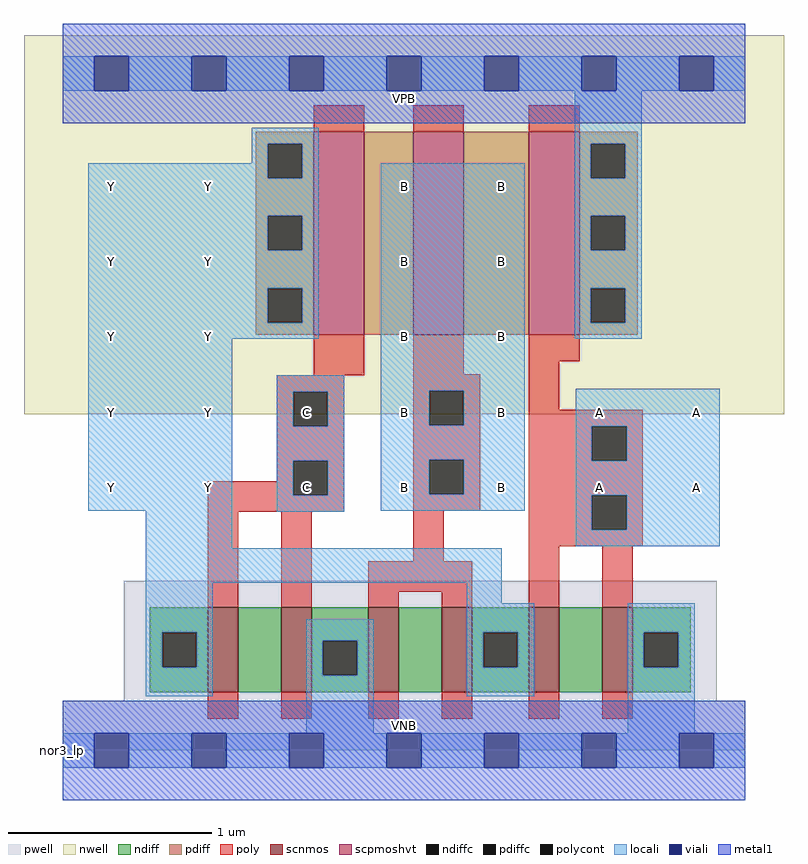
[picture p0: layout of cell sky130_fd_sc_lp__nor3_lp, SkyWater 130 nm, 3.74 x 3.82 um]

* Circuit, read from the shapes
.subckt sky130_fd_sc_lp__nor3_lp A B C VGND VNB VPB VPWR Y
XM1 n1 C Y VNB sky130_fd_pr__nfet_01v8 w=0.42 l=0.15
XM2 VGND C n1 VNB sky130_fd_pr__nfet_01v8 w=0.42 l=0.15
XM3 n2 B VGND VNB sky130_fd_pr__nfet_01v8 w=0.42 l=0.15
XM4 Y B n2 VNB sky130_fd_pr__nfet_01v8 w=0.42 l=0.15
XM5 n3 A Y VNB sky130_fd_pr__nfet_01v8 w=0.42 l=0.15
XM6 VGND A n3 VNB sky130_fd_pr__nfet_01v8 w=0.42 l=0.15
XM7 n4 C Y VPB sky130_fd_pr__pfet_01v8_hvt w=1 l=0.25
XM8 n5 B n4 VPB sky130_fd_pr__pfet_01v8_hvt w=1 l=0.25
XM9 VPWR A n5 VPB sky130_fd_pr__pfet_01v8_hvt w=1 l=0.25
.ends

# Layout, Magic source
magic
tech sky130A
magscale 1 2
<< nwell >>
rect -38 331 710 704
<< pwell >>
rect 60 49 644 167
rect 0 0 672 49
<< scnmos >>
rect 143 57 173 141
rect 215 57 245 141
rect 301 57 331 141
rect 373 57 403 141
rect 459 57 489 141
rect 531 57 561 141
<< scpmoshvt >>
rect 247 409 297 609
rect 345 409 395 609
rect 459 409 509 609
<< ndiff >>
rect 86 116 143 141
rect 86 82 98 116
rect 132 82 143 116
rect 86 57 143 82
rect 173 57 215 141
rect 245 108 301 141
rect 245 74 256 108
rect 290 74 301 108
rect 245 57 301 74
rect 331 57 373 141
rect 403 116 459 141
rect 403 82 414 116
rect 448 82 459 116
rect 403 57 459 82
rect 489 57 531 141
rect 561 116 618 141
rect 561 82 572 116
rect 606 82 618 116
rect 561 57 618 82
<< pdiff >>
rect 190 597 247 609
rect 190 563 202 597
rect 236 563 247 597
rect 190 526 247 563
rect 190 492 202 526
rect 236 492 247 526
rect 190 455 247 492
rect 190 421 202 455
rect 236 421 247 455
rect 190 409 247 421
rect 297 409 345 609
rect 395 409 459 609
rect 509 597 566 609
rect 509 563 520 597
rect 554 563 566 597
rect 509 526 566 563
rect 509 492 520 526
rect 554 492 566 526
rect 509 455 566 492
rect 509 421 520 455
rect 554 421 566 455
rect 509 409 566 421
<< ndiffc >>
rect 98 82 132 116
rect 256 74 290 108
rect 414 82 448 116
rect 572 82 606 116
<< pdiffc >>
rect 202 563 236 597
rect 202 492 236 526
rect 202 421 236 455
rect 520 563 554 597
rect 520 492 554 526
rect 520 421 554 455
<< poly >>
rect 247 609 297 635
rect 345 609 395 635
rect 459 609 509 635
rect 247 369 297 409
rect 345 370 395 409
rect 459 383 509 409
rect 211 353 277 369
rect 211 319 227 353
rect 261 319 277 353
rect 211 285 277 319
rect 211 265 227 285
rect 143 251 227 265
rect 261 251 277 285
rect 143 235 277 251
rect 345 354 411 370
rect 345 320 361 354
rect 395 320 411 354
rect 345 286 411 320
rect 345 252 361 286
rect 395 252 411 286
rect 345 236 411 252
rect 459 335 489 383
rect 459 319 571 335
rect 459 285 521 319
rect 555 285 571 319
rect 459 251 571 285
rect 143 141 173 235
rect 215 141 245 235
rect 345 186 375 236
rect 459 217 521 251
rect 555 217 571 251
rect 459 201 571 217
rect 301 156 403 186
rect 301 141 331 156
rect 373 141 403 156
rect 459 141 489 201
rect 531 141 561 201
rect 143 31 173 57
rect 215 31 245 57
rect 301 31 331 57
rect 373 31 403 57
rect 459 31 489 57
rect 531 31 561 57
<< polycont >>
rect 227 319 261 353
rect 227 251 261 285
rect 361 320 395 354
rect 361 252 395 286
rect 521 285 555 319
rect 521 217 555 251
<< locali >>
rect 0 649 31 683
rect 65 649 127 683
rect 161 649 223 683
rect 257 649 319 683
rect 353 649 415 683
rect 449 649 511 683
rect 545 649 607 683
rect 641 649 672 683
rect 186 597 252 613
rect 186 578 202 597
rect 25 563 202 578
rect 236 563 252 597
rect 504 597 570 649
rect 25 526 252 563
rect 25 492 202 526
rect 236 492 252 526
rect 25 455 252 492
rect 25 421 202 455
rect 236 421 252 455
rect 25 405 252 421
rect 25 236 167 405
rect 82 199 167 236
rect 211 353 277 369
rect 211 319 227 353
rect 261 319 277 353
rect 211 285 277 319
rect 211 251 227 285
rect 261 251 277 285
rect 211 235 277 251
rect 313 354 455 578
rect 504 563 520 597
rect 554 563 570 597
rect 504 526 570 563
rect 504 492 520 526
rect 554 492 570 526
rect 504 455 570 492
rect 504 421 520 455
rect 554 421 570 455
rect 504 405 570 421
rect 313 320 361 354
rect 395 320 455 354
rect 313 286 455 320
rect 313 252 361 286
rect 395 252 455 286
rect 313 236 455 252
rect 505 319 647 356
rect 505 285 521 319
rect 555 285 647 319
rect 505 251 647 285
rect 505 217 521 251
rect 555 217 647 251
rect 505 201 647 217
rect 82 165 432 199
rect 82 116 148 165
rect 398 145 432 165
rect 82 82 98 116
rect 132 82 148 116
rect 82 53 148 82
rect 240 108 306 129
rect 240 74 256 108
rect 290 74 306 108
rect 240 17 306 74
rect 398 116 464 145
rect 398 82 414 116
rect 448 82 464 116
rect 398 53 464 82
rect 556 116 622 145
rect 556 82 572 116
rect 606 82 622 116
rect 556 17 622 82
rect 0 -17 31 17
rect 65 -17 127 17
rect 161 -17 223 17
rect 257 -17 319 17
rect 353 -17 415 17
rect 449 -17 511 17
rect 545 -17 607 17
rect 641 -17 672 17
<< viali >>
rect 31 649 65 683
rect 127 649 161 683
rect 223 649 257 683
rect 319 649 353 683
rect 415 649 449 683
rect 511 649 545 683
rect 607 649 641 683
rect 31 -17 65 17
rect 127 -17 161 17
rect 223 -17 257 17
rect 319 -17 353 17
rect 415 -17 449 17
rect 511 -17 545 17
rect 607 -17 641 17
<< metal1 >>
rect 0 683 672 715
rect 0 649 31 683
rect 65 649 127 683
rect 161 649 223 683
rect 257 649 319 683
rect 353 649 415 683
rect 449 649 511 683
rect 545 649 607 683
rect 641 649 672 683
rect 0 617 672 649
rect 0 17 672 49
rect 0 -17 31 17
rect 65 -17 127 17
rect 161 -17 223 17
rect 257 -17 319 17
rect 353 -17 415 17
rect 449 -17 511 17
rect 545 -17 607 17
rect 641 -17 672 17
rect 0 -49 672 -17
<< labels >>
flabel pwell s 0 0 672 49 0 FreeSans 200 0 0 0 VNB
port 5 nsew ground bidirectional
flabel nwell s 0 617 672 666 0 FreeSans 200 0 0 0 VPB
port 6 nsew power bidirectional
rlabel comment s 0 0 0 0 4 nor3_lp
flabel metal1 s 0 617 672 666 0 FreeSans 340 0 0 0 VPWR
port 7 nsew power bidirectional
flabel metal1 s 0 0 672 49 0 FreeSans 340 0 0 0 VGND
port 4 nsew ground bidirectional
flabel locali s 223 242 257 276 0 FreeSans 340 0 0 0 C
port 3 nsew signal input
flabel locali s 223 316 257 350 0 FreeSans 340 0 0 0 C
port 3 nsew signal input
flabel locali s 319 242 353 276 0 FreeSans 340 0 0 0 B
port 2 nsew signal input
flabel locali s 319 316 353 350 0 FreeSans 340 0 0 0 B
port 2 nsew signal input
flabel locali s 319 390 353 424 0 FreeSans 340 0 0 0 B
port 2 nsew signal input
flabel locali s 319 464 353 498 0 FreeSans 340 0 0 0 B
port 2 nsew signal input
flabel locali s 319 538 353 572 0 FreeSans 340 0 0 0 B
port 2 nsew signal input
flabel locali s 415 242 449 276 0 FreeSans 340 0 0 0 B
port 2 nsew signal input
flabel locali s 415 316 449 350 0 FreeSans 340 0 0 0 B
port 2 nsew signal input
flabel locali s 415 390 449 424 0 FreeSans 340 0 0 0 B
port 2 nsew signal input
flabel locali s 415 464 449 498 0 FreeSans 340 0 0 0 B
port 2 nsew signal input
flabel locali s 415 538 449 572 0 FreeSans 340 0 0 0 B
port 2 nsew signal input
flabel locali s 511 242 545 276 0 FreeSans 340 0 0 0 A
port 1 nsew signal input
flabel locali s 511 316 545 350 0 FreeSans 340 0 0 0 A
port 1 nsew signal input
flabel locali s 607 242 641 276 0 FreeSans 340 0 0 0 A
port 1 nsew signal input
flabel locali s 607 316 641 350 0 FreeSans 340 0 0 0 A
port 1 nsew signal input
flabel locali s 31 242 65 276 0 FreeSans 340 0 0 0 Y
port 8 nsew signal output
flabel locali s 31 316 65 350 0 FreeSans 340 0 0 0 Y
port 8 nsew signal output
flabel locali s 31 390 65 424 0 FreeSans 340 0 0 0 Y
port 8 nsew signal output
flabel locali s 31 464 65 498 0 FreeSans 340 0 0 0 Y
port 8 nsew signal output
flabel locali s 31 538 65 572 0 FreeSans 340 0 0 0 Y
port 8 nsew signal output
flabel locali s 127 242 161 276 0 FreeSans 340 0 0 0 Y
port 8 nsew signal output
flabel locali s 127 316 161 350 0 FreeSans 340 0 0 0 Y
port 8 nsew signal output
flabel locali s 127 390 161 424 0 FreeSans 340 0 0 0 Y
port 8 nsew signal output
flabel locali s 127 464 161 498 0 FreeSans 340 0 0 0 Y
port 8 nsew signal output
flabel locali s 127 538 161 572 0 FreeSans 340 0 0 0 Y
port 8 nsew signal output
<< properties >>
string LEFsite unit
string LEFclass CORE
string FIXED_BBOX 0 0 672 666
string GDS_FILE $PDKPATH/libs.ref/sky130_fd_sc_lp/gds/sky130_fd_sc_lp.gds
string LEFsymmetry X Y R90
string GDS_END 2507026
string GDS_START 2499272
<< end >>
